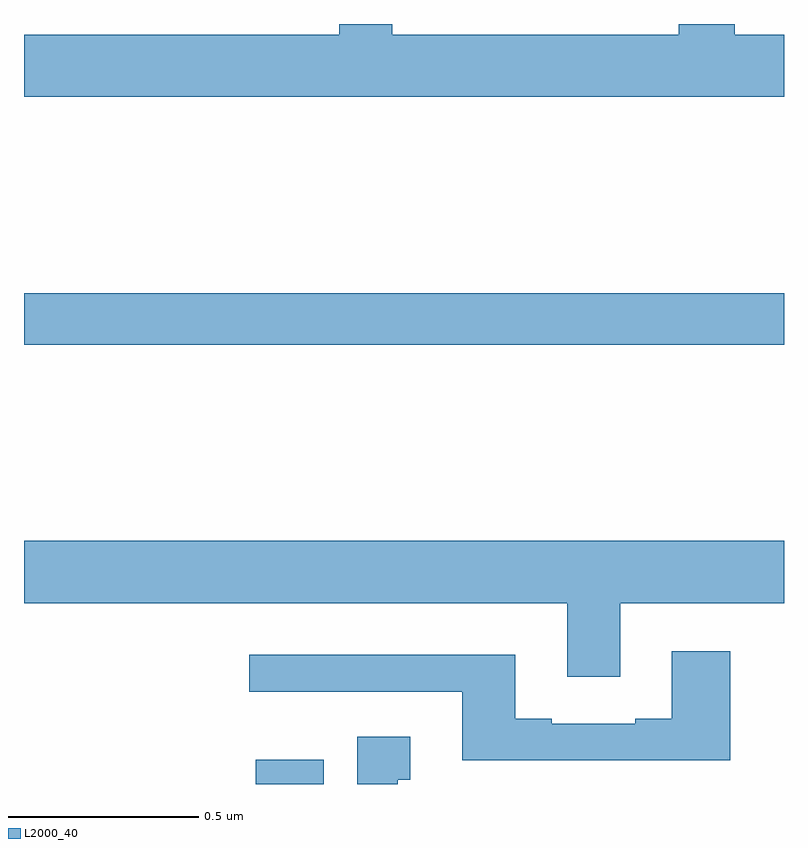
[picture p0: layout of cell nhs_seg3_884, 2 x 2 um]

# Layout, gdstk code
import gdstk
lib = gdstk.Library(unit=1e-6, precision=1e-09)
def R(c, l, rs):  # rectangles x0, y0, x1, y1
    for r in rs: c.add(gdstk.rectangle(r[:2], r[2:], *l))
def P(c, l, *ps):  # polygons
    for p in ps: c.add(gdstk.Polygon(p, *l))
L2000_40 = (2000, 40)

nhs_seg3_884 = lib.new_cell('nhs_seg3_884')
R(nhs_seg3_884, L2000_40, [(121.61,740.4,121.789,740.464), (121,741.556,123,741.692)])
P(nhs_seg3_884, L2000_40, [(123,742.372),(122.871,742.372),(122.871,742.4),(122.723,742.4),(122.723,742.372),(121.969,742.372),(121.969,742.4),(121.829,742.4),(121.829,742.372),(121,742.372),(121,742.208),(123,742.208)],
  [(122.569,740.876),(123,740.876),(123,741.04),(121,741.04),(121,740.876),(122.429,740.876),(122.429,740.682),(122.569,740.682)],
  [(122.858,740.749),(122.705,740.749),(122.705,740.572),(122.609,740.572),(122.609,740.559),(122.389,740.559),(122.389,740.572),(122.293,740.572),(122.293,740.74),(121.593,740.74),(121.593,740.643),(122.153,740.643),(122.153,740.462),(122.858,740.462)],
  [(121.984,740.411),(122.017,740.411),(122.017,740.524),(121.877,740.524),(121.877,740.4),(121.984,740.4)])

lib.write_gds('nhs_seg3_884.gds')
